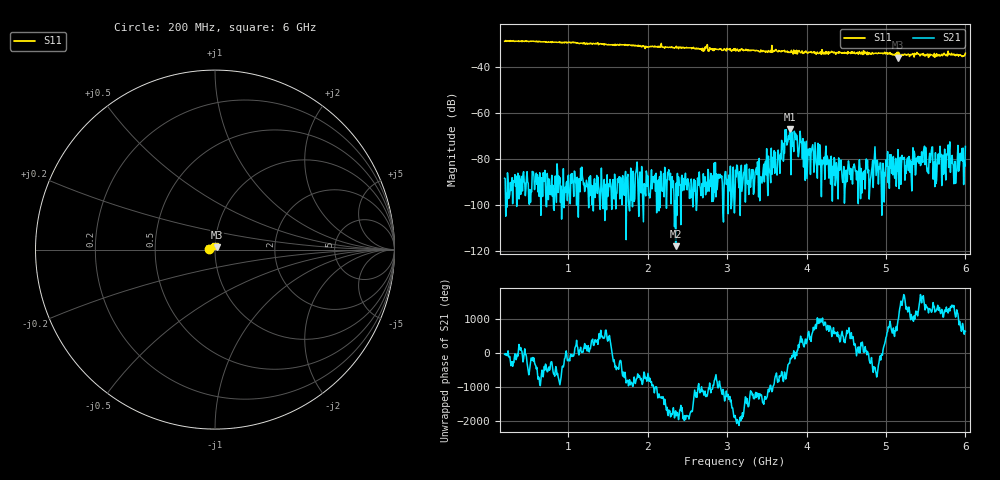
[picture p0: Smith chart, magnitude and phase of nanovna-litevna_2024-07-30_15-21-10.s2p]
! NanoVNA-App by OneOfEleven et al v1.1.209 (+OD15)
! Date: 2024-07-30 15:21:13
! Start: 200MHz Stop: 6GHz Points: 801
! S-Parameter data: F S11 S21 S12 S22
# Hz S RI R 50
!  Frequency  S11_Real  S11_Imag  S21_Real  S21_Imag  S12_Real  S12_Imag  S22_Real  S22_Imag
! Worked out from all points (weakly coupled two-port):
!   801 points, 200 MHz to 6 GHz, reference 50 ohm
!   highest |S21| = -66.84 dB at 3.796 GHz (marker M1); lowest = -117.8 dB at 2.353 GHz (marker M2)
!   lowest |S11| = -35.9 dB at 5.152 GHz (marker M3), VSWR 1.03, Z = 50.9 + j1.38 ohm
!   |S11| at or under -10 dB: start of sweep to end of sweep
!   S12 and S22 are empty: the file has one direction only
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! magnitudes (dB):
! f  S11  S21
! 200 MHz  -28.8  -88.3
! 1.171 GHz  -29.6  -83.4
! 2.136 GHz  -31.3  -89.0
! 2.353 GHz  -31.4  -117.8
! 3.1 GHz  -32.0  -96.7
! 3.651 GHz  -32.8  -80.0
! 3.76 GHz  -33.1  -73.0
! 3.796 GHz  -33.6  -66.8
! 3.847 GHz  -34.0  -67.9
! 3.919 GHz  -33.6  -67.9
! 3.941 GHz  -33.0  -72.6
! 3.992 GHz  -33.0  -74.3
! 4.072 GHz  -33.6  -74.8
! 4.296 GHz  -33.8  -80.3
! 5.036 GHz  -34.1  -83.3
! 5.152 GHz  -35.9  -75.9
! 5.413 GHz  -34.4  -81.7
! 5.478 GHz  -34.8  -75.9
! 5.623 GHz  -34.8  -77.2
! 5.79 GHz  -34.4  -83.6
! 5.87 GHz  -34.7  -80.9
! 6 GHz  -34.0  -74.5
